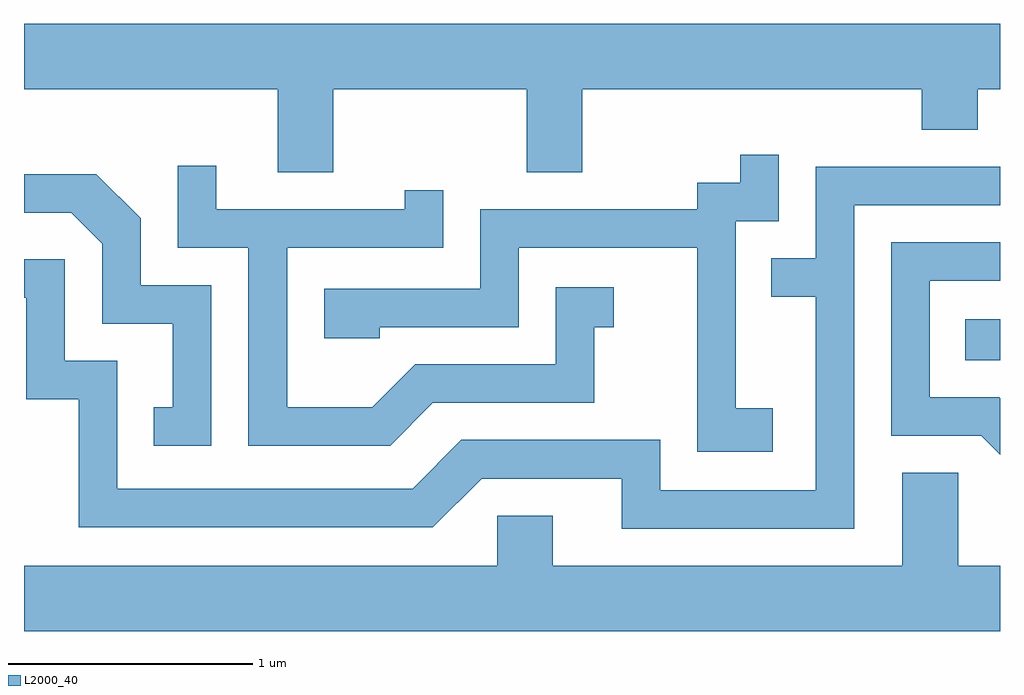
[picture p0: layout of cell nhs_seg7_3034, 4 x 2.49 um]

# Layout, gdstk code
import gdstk
lib = gdstk.Library(unit=1e-6, precision=1e-09)
def R(c, l, rs):  # rectangles x0, y0, x1, y1
    for r in rs: c.add(gdstk.rectangle(r[:2], r[2:], *l))
def P(c, l, *ps):  # polygons
    for p in ps: c.add(gdstk.Polygon(p, *l))
L2000_40 = (2000, 40)

nhs_seg7_3034 = lib.new_cell('nhs_seg7_3034')
R(nhs_seg7_3034, L2000_40, [(281.468,1757.606,281.611,1757.774)])
P(nhs_seg7_3034, L2000_40, [(278.879,1758.716),(279.671,1758.716),(279.671,1758.376),(279.899,1758.376),(279.899,1758.716),(281.291,1758.716),(281.291,1758.551),(281.519,1758.551),(281.519,1758.716),(281.611,1758.716),(281.611,1758.984),(277.611,1758.984),(277.611,1758.716),(278.651,1758.716),(278.651,1758.376),(278.879,1758.376)],
  [(280.679,1757.409),(280.529,1757.409),(280.529,1758.176),(280.704,1758.176),(280.704,1758.448),(280.546,1758.448),(280.546,1758.334),(280.371,1758.334),(280.371,1758.224),(279.481,1758.224),(279.481,1757.899),(278.841,1757.899),(278.841,1757.696),(279.069,1757.696),(279.069,1757.741),(279.639,1757.741),(279.639,1758.066),(280.371,1758.066),(280.371,1757.231),(280.679,1757.231)],
  [(279.287,1757.431),(279.949,1757.431),(279.949,1757.741),(280.028,1757.741),(280.028,1757.904),(279.791,1757.904),(279.791,1757.589),(279.214,1757.589),(279.039,1757.414),(278.689,1757.414),(278.689,1758.066),(279.329,1758.066),(279.329,1758.303),(279.171,1758.303),(279.171,1758.224),(278.399,1758.224),(278.399,1758.403),(278.241,1758.403),(278.241,1758.066),(278.531,1758.066),(278.531,1757.256),(279.112,1757.256)],
  [(281.014,1758.241),(281.611,1758.241),(281.611,1758.399),(280.856,1758.399),(280.856,1758.024),(280.673,1758.024),(280.673,1757.866),(280.856,1757.866),(280.856,1757.074),(280.219,1757.074),(280.219,1757.279),(279.404,1757.279),(279.204,1757.079),(277.994,1757.079),(277.994,1757.604),(277.779,1757.604),(277.779,1758.019),(277.611,1758.019),(277.611,1757.861),(277.621,1757.861),(277.621,1757.446),(277.836,1757.446),(277.836,1756.921),(279.287,1756.921),(279.487,1757.121),(280.061,1757.121),(280.061,1756.916),(281.014,1756.916)],
  [(278.379,1757.914),(278.089,1757.914),(278.089,1758.187),(277.907,1758.369),(277.611,1758.369),(277.611,1758.211),(277.804,1758.211),(277.931,1758.084),(277.931,1757.756),(278.221,1757.756),(278.221,1757.414),(278.143,1757.414),(278.143,1757.256),(278.379,1757.256)],
  [(281.611,1757.45),(281.607,1757.454),(281.324,1757.454),(281.324,1757.931),(281.611,1757.931),(281.611,1758.089),(281.166,1758.089),(281.166,1757.296),(281.534,1757.296),(281.611,1757.219)],
  [(281.611,1756.764),(281.439,1756.764),(281.439,1757.144),(281.211,1757.144),(281.211,1756.764),(279.779,1756.764),(279.779,1756.969),(279.551,1756.969),(279.551,1756.764),(277.611,1756.764),(277.611,1756.496),(281.611,1756.496)])

lib.write_gds('nhs_seg7_3034.gds')
